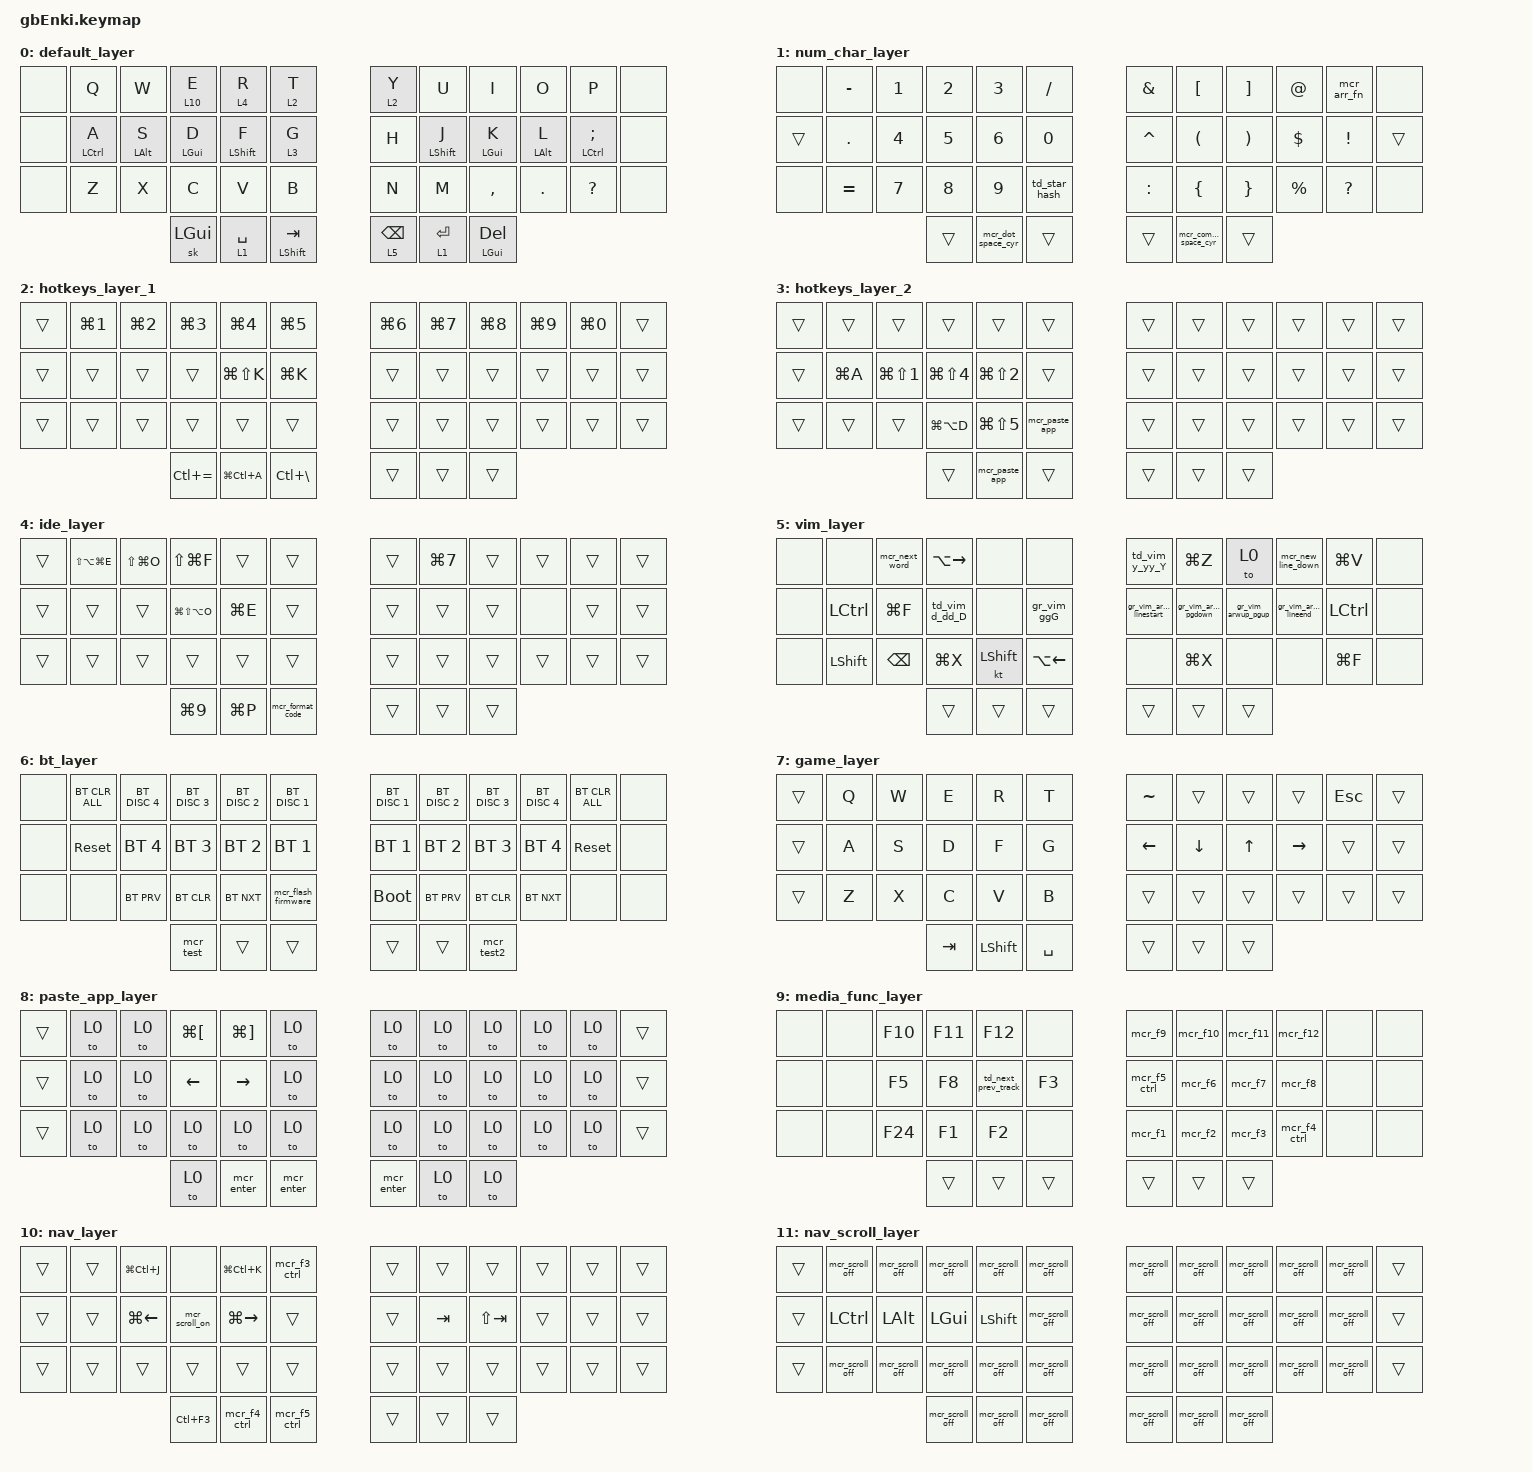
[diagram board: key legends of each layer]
/*
 * Copyright (c) 2020 The ZMK Contributors
 *
 * SPDX-License-Identifier: MIT
 */

#include <behaviors.dtsi>
#include <dt-bindings/zmk/bt.h>
#include <dt-bindings/zmk/keys.h>
#include <dt-bindings/zmk/keys.h>
#include <dt-bindings/zmk/mouse.h>

&mt {
    flavor = "balanced";
    quick-tap-ms = <250>;
    tapping-term-ms = <250>;
};

&lt { quick-tap-ms = <200>; };

&soft_off { hold-time-ms = <200>; };

/ {
    macros {
        mcr_arr_fn: macro_arrow_fn {
            compatible = "zmk,behavior-macro";
            #binding-cells = <0>;
            bindings = <&kp EQUAL &kp GT &kp SPACE &kp LEFT_BRACE &kp RET>;
            label = "MACRO_ARROW_FN";
        };

        mcr_test: mcr_test {
            compatible = "zmk,behavior-macro";
            #binding-cells = <0>;
            bindings = <&kp EXCL &kp N1 &kp LS(Q) &kp A &kp Z &kp N2 &kp LS(W) &kp S &kp X &kp ENTER>;
            label = "MCR_TEST";
        };

        mcr_comma_space_cyr: mcr_comma_space {
            compatible = "zmk,behavior-macro";
            #binding-cells = <0>;
            bindings = <&kp CARET &kp SPACE>;
            label = "MCR_COMMA_SPACE";
        };

        mcr_dot_space_cyr: mcr_dot_space {
            compatible = "zmk,behavior-macro";
            #binding-cells = <0>;
            bindings = <&kp AMPERSAND &kp SPACE &skl LEFT_SHIFT>;
            label = "MCR_DOT_SPACE";
        };

        mcr_new_line_down: mcr_new_line {
            compatible = "zmk,behavior-macro";
            #binding-cells = <0>;
            bindings = <&kp LG(RIGHT_ARROW) &kp LS(ENTER)>;
            label = "MCR_NEW_LINE";
        };

        mcr_next_word: mcr_next_word {
            compatible = "zmk,behavior-macro";
            #binding-cells = <0>;
            bindings = <&kp LA(RIGHT_ARROW) &kp RIGHT_ARROW>;
            label = "MCR_NEXT_WORD";
        };

        mcr_vim_D: mcr_vim_D {
            compatible = "zmk,behavior-macro";
            #binding-cells = <0>;
            bindings =
                <&macro_press>,
                <&kp LSHFT>,
                <&macro_tap>,
                <&kp LG(RIGHT_ARROW)>,
                <&macro_release>,
                <&kp LSHFT>,
                <&macro_tap>,
                <&kp BACKSPACE>;

            label = "MCR_VIM_D";
        };

        mcr_vim_Y: mcr_vim_Y {
            compatible = "zmk,behavior-macro";
            #binding-cells = <0>;
            bindings =
                <&macro_press>,
                <&kp LSHFT>,
                <&macro_tap>,
                <&kp LG(RIGHT_ARROW)>,
                <&macro_release>,
                <&kp LSHFT>,
                <&macro_tap>,
                <&kp LG(C) &kp RIGHT_ARROW>;

            label = "MCR_VIM_Y";
        };

        mcr_vim_dd: mcr_vim_dd {
            compatible = "zmk,behavior-macro";
            #binding-cells = <0>;
            bindings =
                <&macro_tap>,
                <&kp LG(LEFT_ARROW)>,
                <&macro_press>,
                <&kp LSHFT>,
                <&macro_tap>,
                <&kp LG(RIGHT_ARROW)>,
                <&macro_release>,
                <&kp LSHFT>,
                <&macro_tap>,
                <&kp BACKSPACE>;

            label = "MCR_VIM_DD";
        };

        mcr_vim_yy: mcr_vim_yy {
            compatible = "zmk,behavior-macro";
            #binding-cells = <0>;
            bindings =
                <&macro_tap>,
                <&kp LG(LEFT_ARROW)>,
                <&macro_press>,
                <&kp LSHFT>,
                <&macro_tap>,
                <&kp LG(RIGHT_ARROW)>,
                <&macro_release>,
                <&kp LSHFT>,
                <&macro_tap>,
                <&kp LG(C) &kp LEFT_ARROW>;

            label = "MCR_VIM_YY";
        };

        mcr_esc: mcr_esc {
            compatible = "zmk,behavior-macro";
            #binding-cells = <0>;
            bindings = <&kp ESC &to 0 &mcr_scroll_off>;
            label = "MCR_ESC";
        };

        mcr_paste_app: mcr_paste_app {
            compatible = "zmk,behavior-macro";
            #binding-cells = <0>;
            bindings = <&kp LS(LG(V)) &to 8>;
            label = "MCR_PASTE_APP";
        };

        mcr_enter: macro_enter {
            compatible = "zmk,behavior-macro";
            #binding-cells = <0>;
            bindings = <&kp ENTER &to 0>;
            label = "MACRO_ENTER";
        };

        mcr_f1: mcr_f1 {
            compatible = "zmk,behavior-macro";
            #binding-cells = <0>;
            bindings =
                <&macro_press>,
                <&kp F24>,
                <&macro_tap>,
                <&kp F1>,
                <&macro_release>,
                <&kp F24>;

            label = "MCR_F1";
        };

        mcr_f2: mcr_f2 {
            compatible = "zmk,behavior-macro";
            #binding-cells = <0>;
            bindings =
                <&macro_press>,
                <&kp F24>,
                <&macro_tap>,
                <&kp F2>,
                <&macro_release>,
                <&kp F24>;

            label = "MCR_F2";
        };

        mcr_f3: mcr_f3 {
            compatible = "zmk,behavior-macro";
            #binding-cells = <0>;
            bindings =
                <&macro_press>,
                <&kp F24>,
                <&macro_tap>,
                <&kp F3>,
                <&macro_release>,
                <&kp F24>;

            label = "MCR_F3";
        };

        mcr_f4: mcr_f4 {
            compatible = "zmk,behavior-macro";
            #binding-cells = <0>;
            bindings =
                <&macro_press>,
                <&kp F24>,
                <&macro_tap>,
                <&kp F4>,
                <&macro_release>,
                <&kp F24>;

            label = "MCR_F4";
        };

        mcr_f5: mcr_f5 {
            compatible = "zmk,behavior-macro";
            #binding-cells = <0>;
            bindings =
                <&macro_press>,
                <&kp F24>,
                <&macro_tap>,
                <&kp F5>,
                <&macro_release>,
                <&kp F24>;

            label = "MCR_F5";
        };

        mcr_f6: mcr_f6 {
            compatible = "zmk,behavior-macro";
            #binding-cells = <0>;
            bindings =
                <&macro_press>,
                <&kp F24>,
                <&macro_tap>,
                <&kp F6>,
                <&macro_release>,
                <&kp F24>;

            label = "MCR_F6";
        };

        mcr_f7: mcr_f7 {
            compatible = "zmk,behavior-macro";
            #binding-cells = <0>;
            bindings =
                <&macro_press>,
                <&kp F24>,
                <&macro_tap>,
                <&kp F7>,
                <&macro_release>,
                <&kp F24>;

            label = "MCR_F7";
        };

        mcr_f8: mcr_f8 {
            compatible = "zmk,behavior-macro";
            #binding-cells = <0>;
            bindings =
                <&macro_press>,
                <&kp F24>,
                <&macro_tap>,
                <&kp F8>,
                <&macro_release>,
                <&kp F24>;

            label = "MCR_F8";
        };

        mcr_f9: mcr_f9 {
            compatible = "zmk,behavior-macro";
            #binding-cells = <0>;
            bindings =
                <&macro_press>,
                <&kp F24>,
                <&macro_tap>,
                <&kp F9>,
                <&macro_release>,
                <&kp F24>;

            label = "MCR_F9";
        };

        mcr_f10: mcr_f10 {
            compatible = "zmk,behavior-macro";
            #binding-cells = <0>;
            bindings =
                <&macro_press>,
                <&kp F24>,
                <&macro_tap>,
                <&kp F10>,
                <&macro_release>,
                <&kp F24>;

            label = "MCR_F10";
        };

        mcr_f11: mcr_f11 {
            compatible = "zmk,behavior-macro";
            #binding-cells = <0>;
            bindings =
                <&macro_press>,
                <&kp F24>,
                <&macro_tap>,
                <&kp F11>,
                <&macro_release>,
                <&kp F24>;

            label = "MCR_F11";
        };

        mcr_f12: mcr_f12 {
            compatible = "zmk,behavior-macro";
            #binding-cells = <0>;
            bindings =
                <&macro_press>,
                <&kp F24>,
                <&macro_tap>,
                <&kp F12>,
                <&macro_release>,
                <&kp F24>;

            label = "MCR_F12";
        };

        mcr_flash_firmware: mcr_flash_firmware {
            compatible = "zmk,behavior-macro";
            #binding-cells = <0>;
            bindings = <&kp LC(LA(LG(SLASH))) &bootloader>;
            label = "MCR_FLASH_FIRMWARE";
        };

        mcr_horizontal_scroll: mcr_horizontal_scroll {
            compatible = "zmk,behavior-macro";
            #binding-cells = <0>;
            bindings =
                <&macro_press>,
                <&kp LSHFT &mkp MB5>,
                <&macro_pause_for_release>,
                <&macro_release>,
                <&kp LSHFT &mkp MB5>;

            label = "MCR_HORIZONTAL_SCROLL";
        };

        mcr_mkp_mb1: mcr_mkp_mb1 {
            compatible = "zmk,behavior-macro";
            #binding-cells = <0>;
            bindings = <&macro_tap_time 10>, <&mkp MB1>;

            label = "MCR_MKP_MB1";
        };

        mcr_scroll_on: mcr_tog_scroll {
            compatible = "zmk,behavior-macro";
            #binding-cells = <0>;
            bindings =
                <&macro_tap>,
                <&to 11>,
                <&macro_press>,
                <&mkp MB5>,
                <&macro_tap>,
                <&kp LC(LA(Q))>;

            label = "MCR_TOG_SCROLL";
        };

        mcr_scroll_off: mcr_scroll_off {
            compatible = "zmk,behavior-macro";
            #binding-cells = <0>;
            bindings = <&macro_release>, <&mkp MB5>, <&macro_tap>, <&to 0>;

            label = "MCR_SCROLL_OFF";
        };

        mcr_test2: mcr_test2 {
            compatible = "zmk,behavior-macro";
            #binding-cells = <0>;
            bindings = <&kp N1 &kp LS(Q) &kp A &kp Z &kp N2 &kp LS(W) &kp S &kp X &kp EXCLAMATION &kp EXCL &kp ENTER>;
            label = "MCR_TEST2";
        };

        mcr_format_code: mcr_format_code {
            compatible = "zmk,behavior-macro";
            #binding-cells = <0>;
            bindings = <&kp ENTER &kp LG(Z) &kp SPACE &kp F &kp LG(S)>;
            label = "MCR_FORMAT_CODE";
        };

        mcr_esc_shift: mcr_esc_shift {
            compatible = "zmk,behavior-macro";
            #binding-cells = <0>;
            bindings = <&kp LS(ESC) &to 0 &mcr_scroll_off>;
            label = "MCR_ESC_SHIFT";
        };

        mcr_f3_ctrl: mcr_f3_ctrl {
            compatible = "zmk,behavior-macro";
            #binding-cells = <0>;
            bindings =
                <&macro_press>,
                <&kp F24 &kp LEFT_CONTROL>,
                <&macro_tap>,
                <&kp F3>,
                <&macro_release>,
                <&kp F24 &kp LEFT_CONTROL>;

            label = "MCR_F3_CTRL";
        };

        mcr_f4_ctrl: mcr_f4_ctrl {
            compatible = "zmk,behavior-macro";
            #binding-cells = <0>;
            bindings =
                <&macro_press>,
                <&kp F24 &kp LEFT_CONTROL>,
                <&macro_tap>,
                <&kp F4>,
                <&macro_release>,
                <&kp F24 &kp LEFT_CONTROL>;

            label = "MCR_F4_CTRL";
        };

        mcr_f5_ctrl: mcr_f5_ctrl {
            compatible = "zmk,behavior-macro";
            #binding-cells = <0>;
            bindings =
                <&macro_press>,
                <&kp F24 &kp LEFT_CONTROL>,
                <&macro_tap>,
                <&kp F5>,
                <&macro_release>,
                <&kp F24 &kp LEFT_CONTROL>;

            label = "MCR_F5_CTRL";
        };
    };

    combos {
        compatible = "zmk,combos";

        combo_df_esc {
            bindings = <&mcr_esc>;
            key-positions = <15 16>;
            layers = <0 8 5 11>;
            timeout-ms = <35>;
        };

        combo_sd_ctrl_a {
            bindings = <&kp LC(A)>;
            key-positions = <14 15>;
            layers = <0>;
            timeout-ms = <40>;
        };

        combo_fg_backspace_delete {
            bindings = <&gr_backspace_delete>;
            key-positions = <16 17>;
            layers = <0 5 8 1>;
            timeout-ms = <35>;
        };

        combo_vb_enter {
            bindings = <&kp ENTER>;
            key-positions = <28 29>;
            layers = <0 1 8 5>;
            timeout-ms = <35>;
        };

        combo_cv_enter {
            bindings = <&kp ENTER>;
            key-positions = <28 27>;
            layers = <0 1 8 5>;
            timeout-ms = <35>;
        };

        combo_jk_esc {
            bindings = <&mcr_esc>;
            key-positions = <19 20>;
            layers = <0 1 5 8>;
            timeout-ms = <35>;
        };

        combo_io_slash {
            bindings = <&kp SLASH>;
            key-positions = <8 9>;
            timeout-ms = <40>;
        };

        combo_kl_equal {
            bindings = <&kp EQUAL>;
            key-positions = <20 21>;
            timeout-ms = <35>;
        };

        combo_lt_gt_underscore {
            bindings = <&kp UNDER>;
            key-positions = <32 33>;
            timeout-ms = <35>;
        };

        combo_b_t1_raycast {
            bindings = <&kp LG(SPACE)>;
            key-positions = <29 38>;
        };

        combo_v_t3_switch_lang {
            bindings = <&kp F24>;
            key-positions = <36 28>;
        };

        combo_n_t1_homerow_app {
            bindings = <&kp LG(LS(J))>;
            key-positions = <30 39>;
        };

        combo_n_t2_homerow_app {
            bindings = <&kp LC(LG(SPACE))>;
            key-positions = <30 40>;
        };

        combo_hm_percent {
            bindings = <&kp PERCENT>;
            key-positions = <18 30>;
        };

        combo_jm_asterisk {
            bindings = <&kp ASTERISK>;
            key-positions = <19 31>;
        };

        combo_k_comma_hash {
            bindings = <&kp HASH>;
            key-positions = <20 32>;
        };

        combo_tg_tilde {
            bindings = <&kp TILDE>;
            key-positions = <5 17>;
        };

        combo_uj_plus {
            bindings = <&kp PLUS>;
            key-positions = <7 19>;
        };

        combo_ik_minus {
            bindings = <&kp MINUS>;
            key-positions = <8 20>;
        };

        combo_ed_double_quotes {
            bindings = <&kp DOUBLE_QUOTES>;
            key-positions = <3 15>;
            layers = <0 5 1 8>;
        };

        combo_yh_grave {
            bindings = <&kp GRAVE>;
            key-positions = <18 6>;
            layers = <0 5 1 8>;
        };

        combo_rf_quotes {
            bindings = <&kp SINGLE_QUOTE>;
            key-positions = <16 4>;
            layers = <0 5 1 8>;
        };

        combo_t1_t1_caps_lock {
            bindings = <&kp CAPSLOCK>;
            key-positions = <38 39>;
        };

        combo_v_t2_raycast_apps {
            bindings = <&kp LC(LG(N))>;
            key-positions = <37 29>;
        };

        combo_v_t3_switch_wrong_lang {
            bindings = <&kp LALT>;
            key-positions = <28 37>;
        };

        combo_toggle_game_layer {
            bindings = <&tog 7>;
            key-positions = <25 1>;
            timeout-ms = <100>;
        };

        combo_gb_paste {
            bindings = <&kp LG(V)>;
            key-positions = <17 29>;
            layers = <0 5 1 8>;
        };

        combo_fv_copy {
            bindings = <&kp LG(C)>;
            key-positions = <16 28>;
            layers = <0 5 1 8>;
        };

        combo_dc_cut {
            bindings = <&kp LG(X)>;
            key-positions = <15 27>;
            layers = <0 1 5 8>;
        };

        combo_sx_copy_line {
            bindings = <&mcr_vim_yy>;
            key-positions = <14 26>;
            layers = <0 1 5 8>;
        };

        combo_qa_undo {
            bindings = <&kp LG(Z)>;
            key-positions = <13 1>;
            layers = <0 5 1 8>;
        };

        combo_az_cmd_ctrl_a {
            bindings = <&kp LG(LC(A))>;
            key-positions = <13 25>;
            layers = <0 1 5 8>;
        };

        combo_t2_z_bt_layer {
            bindings = <&lt 6 UNDER>;
            key-positions = <37 25>;
            timeout-ms = <75>;
        };

        combo_t2_slsh_bt_layer {
            bindings = <&lt 6 EXCL>;
            key-positions = <40 34>;
            timeout-ms = <75>;
        };

        combo_t2_a_media_func_layer {
            bindings = <&lt 9 LC(LG(N))>;
            key-positions = <37 13>;
        };

        combo_t2_semi_media_func_layer {
            bindings = <&lt 9 COLON>;
            key-positions = <40 22>;
            timeout-ms = <75>;
        };

        combo_hyper {
            bindings = <&kp LC(LA(LS(LGUI)))>;
            key-positions = <39 22>;
            timeout-ms = <75>;
            layers = <0 5>;
        };

        combo_meh {
            bindings = <&kp LA(LS(LCTRL))>;
            key-positions = <13 38>;
            timeout-ms = <75>;
            layers = <0 5>;
        };

        combo_q_t1_toggle_console {
            bindings = <&kp LG(GRAVE)>;
            key-positions = <38 1>;
            layers = <0>;
            timeout-ms = <75>;
        };

        combo_p_t1_toggle_console {
            bindings = <&kp LG(GRAVE)>;
            key-positions = <39 10>;
            layers = <0 7>;
            timeout-ms = <75>;
        };

        combo_z_t3_soft_off {
            bindings = <&soft_off>;
            key-positions = <25 36>;
            layers = <0>;
        };

        combo_c_t3_gpt_promt {
            bindings = <&kp LA(SPACE)>;
            key-positions = <36 27>;
        };

        combo_g_t1_paste_app {
            bindings = <&mcr_paste_app>;
            key-positions = <17 38>;
            layers = <0 8>;
        };

        combo_df_esc_shift {
            bindings = <&mcr_esc_shift>;
            key-positions = <15 16>;
            layers = <1>;
        };

        combo_we_scroll_on {
            bindings = <&mcr_scroll_on>;
            key-positions = <3 2>;
            timeout-ms = <40>;
        };

        combo_xc_switch_lang {
            bindings = <&kp F24>;
            key-positions = <26 27>;
            timeout-ms = <40>;
        };

        combo_t2_t2_lang_switch {
            bindings = <&kp F24>;
            key-positions = <37 40>;
            timeout-ms = <30>;
        };

        combo_ol_backslash {
            bindings = <&kp BACKSLASH>;
            key-positions = <9 21>;
        };

        combo_ws_pipe {
            bindings = <&kp PIPE>;
            key-positions = <2 14>;
            layers = <0 5 1 8>;
        };
    };

    behaviors {
        td_next_prev_track: td_next_prev_track {
            compatible = "zmk,behavior-tap-dance";
            label = "TD_NEXT_PREV_TRACK";
            #binding-cells = <0>;
            tapping-term-ms = <250>;
            bindings = <&kp F9>, <&kp F7>;
        };

        hrm: homerow_mods {
            compatible = "zmk,behavior-hold-tap";
            label = "HOMEROW_MODS";
            #binding-cells = <2>;
            flavor = "tap-preferred";
            tapping-term-ms = <225>;
            quick-tap-ms = <195>;
            global-quick-tap;
            bindings = <&kp>, <&kp>;
        };

        gr_vim_ggG: gr_vim_ggG {
            compatible = "zmk,behavior-mod-morph";
            label = "GR_VIM_GGG";
            bindings = <&td_g_gg>, <&kp LG(DOWN_ARROW)>;

            #binding-cells = <0>;
            mods = <(MOD_LSFT)>;
        };

        td_g_gg: td_g_gg {
            compatible = "zmk,behavior-tap-dance";
            label = "TD_G_GG";
            #binding-cells = <0>;
            bindings = <&kp G>, <&kp LG(UP_ARROW)>;
        };

        td_vim_d_dd_D: td_vim_d_dd_D {
            compatible = "zmk,behavior-tap-dance";
            label = "TD_VIM_D_DD_D";
            #binding-cells = <0>;
            bindings = <&gr_vim_d_D>, <&mcr_vim_dd>;
        };

        gr_vim_d_D: gr_vim_d_D {
            compatible = "zmk,behavior-mod-morph";
            label = "GR_VIM_D_D";
            bindings = <&kp DELETE>, <&mcr_vim_D>;

            #binding-cells = <0>;
            mods = <(MOD_LSFT)>;
        };

        td_vim_y_yy_Y: td_vim_y_yy_Y {
            compatible = "zmk,behavior-tap-dance";
            label = "TD_VIM_Y_YY_Y";
            #binding-cells = <0>;
            bindings = <&gr_vim_y_Y>, <&mcr_vim_yy>;

            tapping-term-ms = <330>;
        };

        gr_vim_y_Y: gr_vim_y_Y {
            compatible = "zmk,behavior-mod-morph";
            label = "GR_VIM_Y_Y";
            bindings = <&kp LG(C)>, <&mcr_vim_Y>;

            #binding-cells = <0>;
            mods = <(MOD_LSFT)>;
        };

        gr_vim_arwdown_pgdown: gr_vim_arwdown_pgdown {
            compatible = "zmk,behavior-mod-morph";
            label = "GR_VIM_ARWDOWN_PGDOWN";
            bindings = <&kp DOWN_ARROW>, <&kp PAGE_DOWN>;

            #binding-cells = <0>;
            mods = <(MOD_LCTL)>;
        };

        gr_vim_arwup_pgup: gr_vim_arwup_pgup {
            compatible = "zmk,behavior-mod-morph";
            label = "GR_VIM_ARWUP_PGUP";
            bindings = <&kp UP_ARROW>, <&kp PAGE_UP>;

            #binding-cells = <0>;
            mods = <(MOD_LCTL)>;
        };

        gr_vim_arwleft_linestart: gr_vim_arwleft_linestart {
            compatible = "zmk,behavior-mod-morph";
            label = "GR_VIM_ARWLEFT_LINESTART";
            bindings = <&kp LEFT_ARROW>, <&kp LG(LEFT_ARROW)>;

            #binding-cells = <0>;
            mods = <(MOD_LCTL)>;
        };

        gr_vim_arwright_lineend: gr_vim_arwright_lineend {
            compatible = "zmk,behavior-mod-morph";
            label = "GR_VIM_ARWRIGHT_LINEEND";
            bindings = <&kp RIGHT_ARROW>, <&kp LG(RIGHT_ARROW)>;

            #binding-cells = <0>;
            mods = <(MOD_LCTL)>;
        };

        skl: sticky_key_long_release {
            compatible = "zmk,behavior-sticky-key";
            label = "STICKY_KEY_LONG_RELEASE";
            bindings = <&kp>;
            #binding-cells = <1>;
            release-after-ms = <5000>;
            ignore-modifiers;
            quick-release;
        };

        td_star_hash: td_star_hash {
            compatible = "zmk,behavior-tap-dance";
            label = "TD_STAR_HASH";
            #binding-cells = <0>;
            bindings = <&kp ASTERISK>, <&kp HASH>;

            tapping-term-ms = <260>;
        };

        lt_like_hmr: lt_like_hmr {
            compatible = "zmk,behavior-hold-tap";
            label = "LT_LIKE_HMR";
            #binding-cells = <2>;
            flavor = "tap-preferred";
            tapping-term-ms = <225>;
            quick-tap-ms = <195>;
            global-quick-tap;
            bindings = <&mo>, <&kp>;
        };

        gr_backspace_delete: gr_backspace_delete {
            compatible = "zmk,behavior-mod-morph";
            label = "GR_BACKSPACE_DELETE";
            bindings = <&kp BACKSPACE>, <&kp DEL>;

            #binding-cells = <0>;
            mods = <(MOD_LSFT)>;
        };
    };

    keymap {
        compatible = "zmk,keymap";

        default_layer {
            bindings = <
&none  &kp Q         &kp W            &lt_like_hmr 10 E  &lt_like_hmr 4 R   &lt_like_hmr 2 T      &lt_like_hmr 2 Y  &kp U              &kp I            &kp O            &kp P                 &none
&none  &hrm LCTRL A  &hrm LEFT_ALT S  &hrm LEFT_GUI D    &hrm LEFT_SHIFT F  &lt_like_hmr 3 G      &kp H             &hrm LEFT_SHIFT J  &hrm LEFT_GUI K  &hrm LEFT_ALT L  &hrm LCTRL SEMICOLON  &none
&none  &kp Z         &kp X            &kp C              &kp V              &kp B                 &kp N             &kp M              &kp COMMA        &kp DOT          &kp QUESTION          &none
                                      &sk LEFT_GUI       &lt 1 SPACE        &mt LEFT_SHIFT TAB    &lt 5 BACKSPACE   &lt 1 ENTER        &mt LGUI DELETE
            >;
        };

        num_char_layer {
            bindings = <
&none   &kp MINUS   &kp N1  &kp N2  &kp N3              &kp SLASH        &kp AMPERSAND  &kp LEFT_BRACKET      &kp RIGHT_BRACKET      &kp AT_SIGN  &mcr_arr_fn      &none
&trans  &kp PERIOD  &kp N4  &kp N5  &kp N6              &kp N0           &kp CARET      &kp LEFT_PARENTHESIS  &kp RIGHT_PARENTHESIS  &kp DOLLAR   &kp EXCLAMATION  &trans
&none   &kp EQUAL   &kp N7  &kp N8  &kp N9              &td_star_hash    &kp COLON      &kp LEFT_BRACE        &kp RIGHT_BRACE        &kp PERCENT  &kp QUESTION     &none
                            &trans  &mcr_dot_space_cyr  &trans           &trans         &mcr_comma_space_cyr  &trans
            >;
        };

        hotkeys_layer_1 {
            bindings = <
&trans  &kp LG(N1)  &kp LG(N2)  &kp LG(N3)     &kp LG(N4)     &kp LG(N5)           &kp LG(N6)  &kp LG(N7)  &kp LG(N8)  &kp LG(N9)  &kp LG(N0)  &trans
&trans  &trans      &trans      &trans         &kp LG(LS(K))  &kp LG(K)            &trans      &trans      &trans      &trans      &trans      &trans
&trans  &trans      &trans      &trans         &trans         &trans               &trans      &trans      &trans      &trans      &trans      &trans
                                &kp LC(EQUAL)  &kp LG(LC(A))  &kp LC(BACKSLASH)    &trans      &trans      &trans
            >;
        };

        hotkeys_layer_2 {
            bindings = <
&trans  &trans     &trans          &trans          &trans          &trans            &trans  &trans  &trans  &trans  &trans  &trans
&trans  &kp LG(A)  &kp LG(LS(N1))  &kp LG(LS(N4))  &kp LG(LS(N2))  &trans            &trans  &trans  &trans  &trans  &trans  &trans
&trans  &trans     &trans          &kp LG(LA(D))   &kp LG(LS(N5))  &mcr_paste_app    &trans  &trans  &trans  &trans  &trans  &trans
                                   &trans          &mcr_paste_app  &trans            &trans  &trans  &trans
            >;
        };

        ide_layer {
            bindings = <
&trans  &kp LS(LA(LG(E)))  &kp LS(LG(O))  &kp LS(LG(F))      &trans     &trans              &trans  &kp LG(N7)  &trans  &trans  &trans  &trans
&trans  &trans             &trans         &kp LG(LS(LA(O)))  &kp LG(E)  &trans              &trans  &trans      &trans  &none   &trans  &trans
&trans  &trans             &trans         &trans             &trans     &trans              &trans  &trans      &trans  &trans  &trans  &trans
                                          &kp LG(N9)         &kp LG(P)  &mcr_format_code    &trans  &trans      &trans
            >;
        };

        vim_layer {
            bindings = <
&none  &none             &mcr_next_word  &kp LA(RIGHT_ARROW)  &none           &none           &td_vim_y_yy_Y             &kp LG(Z)               &to 0               &mcr_new_line_down        &kp LG(V)  &none
&none  &kp LEFT_CONTROL  &kp LG(F)       &td_vim_d_dd_D       &none           &gr_vim_ggG     &gr_vim_arwleft_linestart  &gr_vim_arwdown_pgdown  &gr_vim_arwup_pgup  &gr_vim_arwright_lineend  &kp LCTRL  &none
&none  &kp LEFT_SHIFT    &kp BACKSPACE   &kp LG(X)            &kt LEFT_SHIFT  &kp LA(LEFT)    &none                      &kp LG(X)               &none               &none                     &kp LG(F)  &none
                                         &trans               &trans          &trans          &trans                     &trans                  &trans
            >;
        };

        bt_layer {
            bindings = <
&none  &bt BT_CLR_ALL  &bt BT_DISC 4  &bt BT_DISC 3  &bt BT_DISC 2  &bt BT_DISC 1          &bt BT_DISC 1  &bt BT_DISC 2  &bt BT_DISC 3  &bt BT_DISC 4  &bt BT_CLR_ALL  &none
&none  &sys_reset      &bt BT_SEL 4   &bt BT_SEL 3   &bt BT_SEL 2   &bt BT_SEL 1           &bt BT_SEL 1   &bt BT_SEL 2   &bt BT_SEL 3   &bt BT_SEL 4   &sys_reset      &none
&none  &none           &bt BT_PRV     &bt BT_CLR     &bt BT_NXT     &mcr_flash_firmware    &bootloader    &bt BT_PRV     &bt BT_CLR     &bt BT_NXT     &none           &none
                                      &mcr_test      &trans         &trans                 &trans         &trans         &mcr_test2
            >;
        };

        game_layer {
            bindings = <
&trans  &kp Q  &kp W  &kp E    &kp R      &kp T        &kp TILDE       &trans          &trans        &trans           &kp ESC  &trans
&trans  &kp A  &kp S  &kp D    &kp F      &kp G        &kp LEFT_ARROW  &kp DOWN_ARROW  &kp UP_ARROW  &kp RIGHT_ARROW  &trans   &trans
&trans  &kp Z  &kp X  &kp C    &kp V      &kp B        &trans          &trans          &trans        &trans           &trans   &trans
                      &kp TAB  &kp LSHFT  &kp SPACE    &trans          &trans          &trans
            >;
        };

        paste_app_layer {
            bindings = <
&trans  &to 0  &to 0  &kp LG(LEFT_BRACKET)  &kp LG(RIGHT_BRACKET)  &to 0         &to 0       &to 0  &to 0  &to 0  &to 0  &trans
&trans  &to 0  &to 0  &kp LEFT              &kp RIGHT              &to 0         &to 0       &to 0  &to 0  &to 0  &to 0  &trans
&trans  &to 0  &to 0  &to 0                 &to 0                  &to 0         &to 0       &to 0  &to 0  &to 0  &to 0  &trans
                      &to 0                 &mcr_enter             &mcr_enter    &mcr_enter  &to 0  &to 0
            >;
        };

        media_func_layer {
            bindings = <
&none  &none  &kp F10  &kp F11  &kp F12              &none     &mcr_f9       &mcr_f10  &mcr_f11  &mcr_f12      &none  &none
&none  &none  &kp F5   &kp F8   &td_next_prev_track  &kp F3    &mcr_f5_ctrl  &mcr_f6   &mcr_f7   &mcr_f8       &none  &none
&none  &none  &kp F24  &kp F1   &kp F2               &none     &mcr_f1       &mcr_f2   &mcr_f3   &mcr_f4_ctrl  &none  &none
                       &trans   &trans               &trans    &trans        &trans    &trans
            >;
        };

        nav_layer {
            bindings = <
&trans  &trans  &kp LG(LC(J))  &none           &kp LG(LC(K))  &mcr_f3_ctrl    &trans  &trans   &trans       &trans  &trans  &trans
&trans  &trans  &kp LG(LEFT)   &mcr_scroll_on  &kp LG(RIGHT)  &trans          &trans  &kp TAB  &kp LS(TAB)  &trans  &trans  &trans
&trans  &trans  &trans         &trans          &trans         &trans          &trans  &trans   &trans       &trans  &trans  &trans
                               &kp LC(F3)      &mcr_f4_ctrl   &mcr_f5_ctrl    &trans  &trans   &trans
            >;
        };

        nav_scroll_layer {
            bindings = <
&trans  &mcr_scroll_off   &mcr_scroll_off  &mcr_scroll_off  &mcr_scroll_off  &mcr_scroll_off    &mcr_scroll_off  &mcr_scroll_off  &mcr_scroll_off  &mcr_scroll_off  &mcr_scroll_off  &trans
&trans  &kp LEFT_CONTROL  &kp LEFT_ALT     &kp LGUI         &kp LEFT_SHIFT   &mcr_scroll_off    &mcr_scroll_off  &mcr_scroll_off  &mcr_scroll_off  &mcr_scroll_off  &mcr_scroll_off  &trans
&trans  &mcr_scroll_off   &mcr_scroll_off  &mcr_scroll_off  &mcr_scroll_off  &mcr_scroll_off    &mcr_scroll_off  &mcr_scroll_off  &mcr_scroll_off  &mcr_scroll_off  &mcr_scroll_off  &trans
                                           &mcr_scroll_off  &mcr_scroll_off  &mcr_scroll_off    &mcr_scroll_off  &mcr_scroll_off  &mcr_scroll_off
            >;
        };
    };
};
